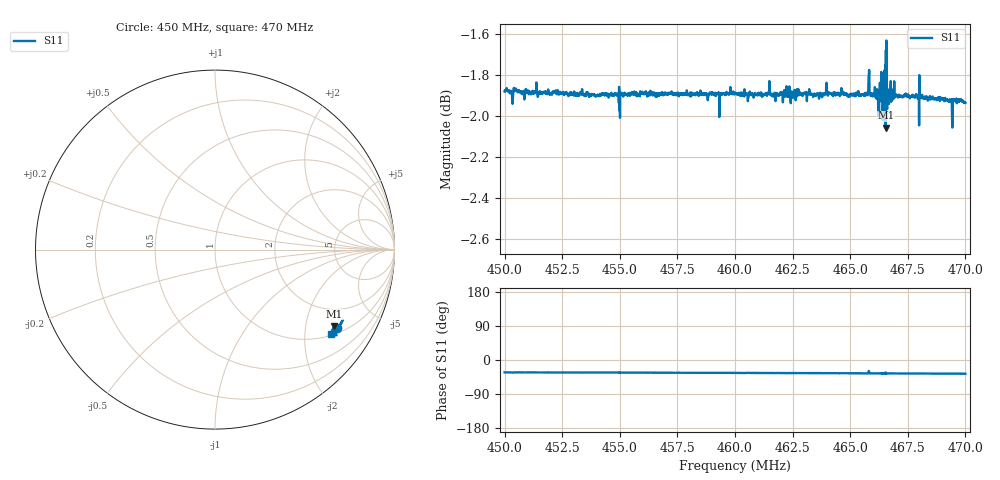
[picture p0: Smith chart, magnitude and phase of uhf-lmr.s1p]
! Calibrated averaged scanner-service zoom
# Hz S RI R 50
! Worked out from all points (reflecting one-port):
!   2001 points, 450 MHz to 470 MHz, reference 50 ohm
!   lowest |S11| = -2.1 dB at 466.54 MHz (marker M1), VSWR 8.48, Z = 64.4 - j145 ohm
!   phase of S11 starts at -33 deg and turns -4 deg over the sweep
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4.5e8  0.6776 -0.435
4.5028e8  0.6772 -0.4359
4.505e8  0.6779 -0.436
4.525e8  0.6747 -0.438
4.5487e8  0.6724 -0.4409
4.55e8  0.6675 -0.4452
4.551e8  0.6721 -0.4413
4.575e8  0.6688 -0.4455
4.6e8  0.667 -0.4504
4.6038e8  0.6656 -0.4521
4.6063e8  0.6656 -0.4514
4.6198e8  0.6642 -0.4546
4.6218e8  0.664 -0.4551
4.625e8  0.6654 -0.4528
4.65e8  0.6584 -0.4605
4.6568e8  0.6566 -0.4631
4.6573e8  0.6574 -0.4634
4.6589e8  0.656 -0.4634
4.6594e8  0.6568 -0.4628
4.6629e8  0.6622 -0.465
4.6635e8  0.6642 -0.4708
4.6643e8  0.6512 -0.4689
4.6644e8  0.6384 -0.4721
4.6654e8  0.6648 -0.425
4.6656e8  0.6486 -0.4778
4.6668e8  0.6511 -0.4643
4.675e8  0.6538 -0.4679
4.7e8  0.6457 -0.4726
